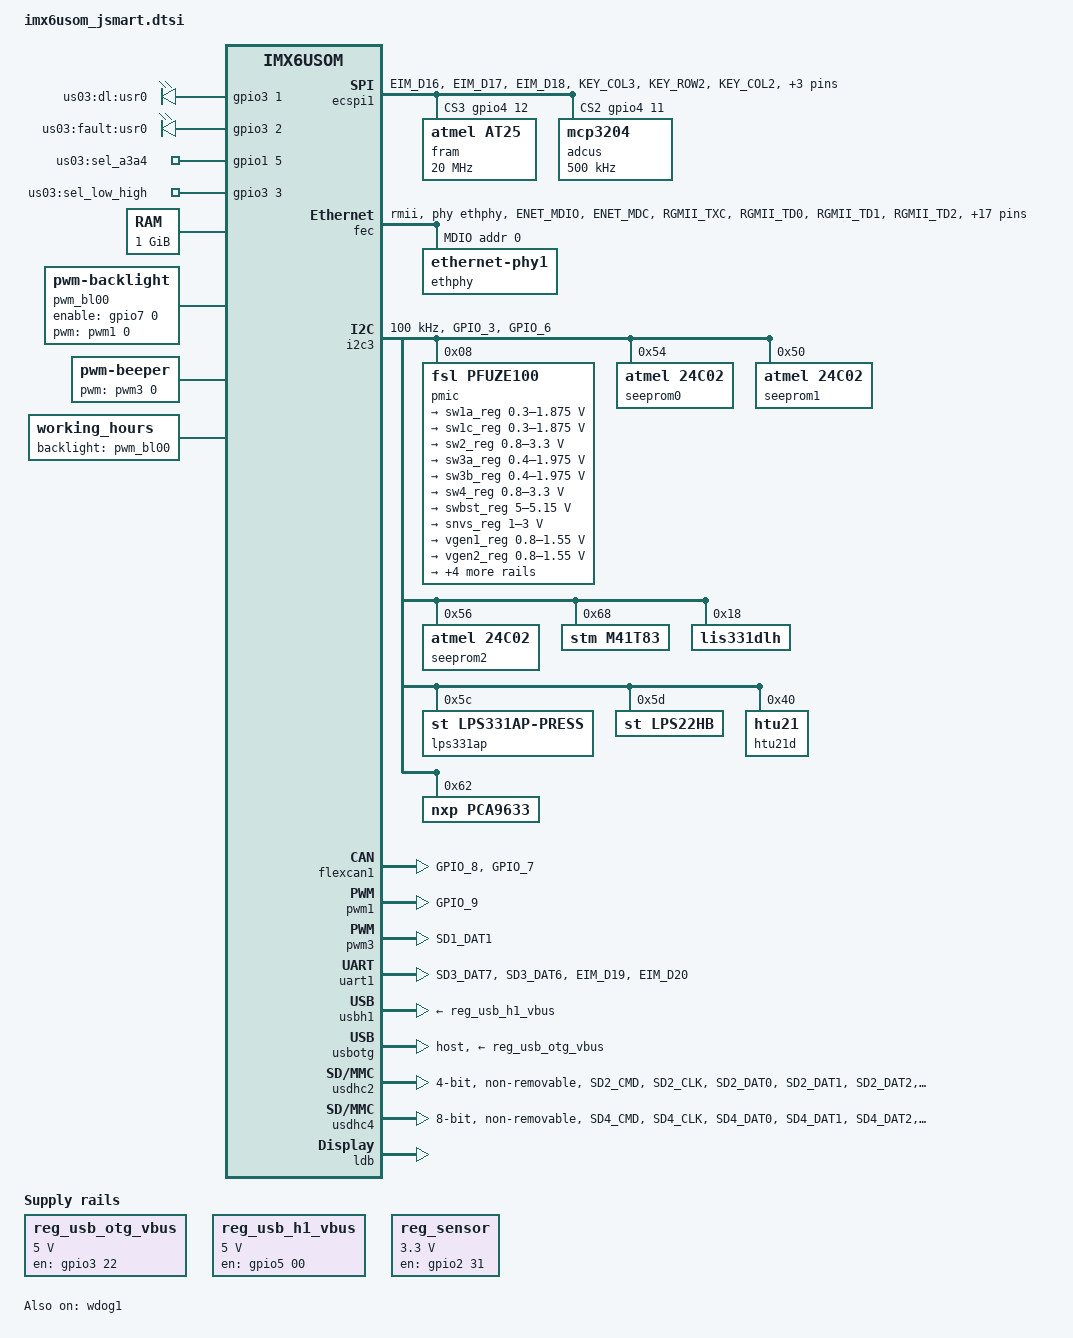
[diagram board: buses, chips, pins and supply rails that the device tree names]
/*
 * Copyright (C) 2016 Exor S.p.a
 * Written by: G. Pavoni Exor S.p.a. (starting from the imx6usom_be15a.dtsi file)
 * 
 * Copyright 2012 Freescale Semiconductor, Inc.
 * Copyright 2011 Linaro Ltd.
 *
 * The code contained herein is licensed under the GNU General Public
 * License. You may obtain a copy of the GNU General Public License
 * Version 2 or later at the following locations:
 *
 * http://www.opensource.org/licenses/gpl-license.html
 * http://www.gnu.org/copyleft/gpl.html
 */

#include <dt-bindings/input/input.h>

/ {
	aliases {
		mxcfb0 = &mxcfb1;
		mmc3 = &usdhc1;
		mmc0 = &usdhc2;
		mmc2 = &usdhc3;
		mmc1 = &usdhc4;
		i2c2 = &i2c1;
		i2c1 = &i2c2;
		i2c0 = &i2c3;
	};

	leds {
		pinctrl-names = "default";
		pinctrl-0 = <&user_leds_default>;

		compatible = "gpio-leds";

		led@1 {
			label = "us03:dl:usr0";
			gpios = <&gpio3 1 0>;
			default-state = "on";
		};

		led@2 {
			label = "us03:fault:usr0";
			gpios = <&gpio3 2 0>;
			default-state = "off";
		};

		led@3 {
			label = "us03:sel_a3a4";
			gpios = <&gpio1 5 0>;
			default-state = "on";
		};
		
		led@4 {
			label = "us03:sel_low_high";
			gpios = <&gpio3 3 0>;
			default-state = "off";
		};
	};

	memory {
		reg = <0x10000000 0x40000000>;
	};

	regulators {
		compatible = "simple-bus";
		#address-cells = <1>;
		#size-cells = <0>;

		reg_usb_otg_vbus: regulator@0 {
			compatible = "regulator-fixed";
			reg = <0>;
			regulator-name = "usb_otg_vbus";
			regulator-min-microvolt = <5000000>;
			regulator-max-microvolt = <5000000>;
			gpio = <&gpio3 22 0>;
			enable-active-high;
		};

		reg_usb_h1_vbus: regulator@1 {
			compatible = "regulator-fixed";
			reg = <1>;
			regulator-name = "usb_h1_vbus";
			regulator-min-microvolt = <5000000>;
			regulator-max-microvolt = <5000000>;
			gpio = <&gpio5 00 0>;
			enable-active-high;
		};
		reg_sensor: regulator@3 {
			compatible = "regulator-fixed";
			reg = <3>;
			regulator-name = "sensor-supply";
			regulator-min-microvolt = <3300000>;
			regulator-max-microvolt = <3300000>;
			gpio = <&gpio2 31 0>;
			startup-delay-us = <500>;
			enable-active-high;
		};
	};

	mxcfb1: fb@0 {
		compatible = "fsl,mxc_sdc_fb";
		disp_dev = "ldb";
		interface_pix_fmt = "RGB24";
		default_bpp = <32>;
		int_clk = <0>;
		late_init = <0>;
		status = "disabled";
	};
	
	ttllcd0: lcd@0 {
		compatible = "fsl,lcd";
		ipu_id = <0>;
		disp_id = <0>;
		default_ifmt = "RGB565";
		pinctrl-names = "default";
		pinctrl-0 = <&pinctrl_ipu1>;
		enable-gpios = <&gpio7 1 0>;
		status = "disabled";
	};

	pwm_bl00: backlight {
		compatible = "pwm-backlight";
		pwms = <&pwm1 0 50000>;
		brightness-levels = <0 4 8 12 16 20 24 28 32 36 40 44 48 52 56 60 64 68 72 76 80 84 88 92 96 100>;
		default-brightness-level = <0>;
		enable-gpios = <&gpio7 0 0>;
		status = "okay";
	};
	
	beeper {
	  compatible = "pwm-beeper";
	  pwms = <&pwm3 0 50000 0>;
	};

	working_hours {
	  compatible = "working_hours";
	  eeprom = <&seeprom0>;
	  backlight = <&pwm_bl00>;
	  rtcnvram = <&m41t83>;
	  status = "okay";
	};

        v4l2_out {
                compatible = "fsl,mxc_v4l2_output";
                status = "okay";
        };
};

&cpu0 {
	arm-supply = <&sw1a_reg>;
	soc-supply = <&sw1c_reg>;
};

&clks {
	assigned-clocks = <&clks IMX6QDL_CLK_LDB_DI0_SEL>,
	                  <&clks IMX6QDL_CLK_LDB_DI1_SEL>;
	assigned-clock-parents = <&clks IMX6QDL_CLK_PLL5_VIDEO_DIV>,
	                  <&clks IMX6QDL_CLK_PLL5_VIDEO_DIV>;
};

&ecspi1 {
	fsl,spi-num-chipselects = <5>;
	cs-gpios = <&gpio5 25 0>, /* CS0 */
	           <&gpio4 10 0>, /* CS1 */
	           <&gpio4 11 0>, /* CS2 */
	           <&gpio4 12 0>, /* CS3 */
	           <&gpio5 19 0>; /* CS4 */
	pinctrl-names = "default";
	pinctrl-0 = <&pinctrl_ecspi1>;
	status = "okay";

	fram: at25@3 {
		compatible = "atmel,at25", "st,m95256";
		reg = <3>;
		spi-max-frequency = <20000000>;
		pagesize = <64>;
		size = <65536>;
		address-width = <16>;
	};

	adcus: mcp3204@2 {
		compatible = "mcp3204";
		reg = <2>;
		spi-max-frequency = <500000>;
	};
};

&fec {
	pinctrl-names = "default";
	pinctrl-0 = <&pinctrl_enet>;
	phy-mode = "rmii";
	status = "okay";

	phy-handle = <&ethphy>;
	mdio {
		#address-cells = <1>;
		#size-cells = <0>;
		ethphy: ethernet-phy1 {
			reg = <0>;
		};
	};
};

&i2c3 {
	clock-frequency = <100000>;
	pinctrl-names = "default";
	pinctrl-0 = <&pinctrl_i2c3>;
	status = "okay";

	pmic: pfuze100@08 {
		compatible = "fsl,pfuze100";
		reg = <0x08>;

		regulators {
			sw1a_reg: sw1ab {
				regulator-min-microvolt = <300000>;
				regulator-max-microvolt = <1875000>;
				regulator-boot-on;
				regulator-always-on;
				regulator-ramp-delay = <6250>;
			};

			sw1c_reg: sw1c {
				regulator-min-microvolt = <300000>;
				regulator-max-microvolt = <1875000>;
				regulator-boot-on;
				regulator-always-on;
				regulator-ramp-delay = <6250>;
			};

			sw2_reg: sw2 {
				regulator-min-microvolt = <800000>;
				regulator-max-microvolt = <3300000>;
				regulator-boot-on;
				regulator-always-on;
			};

			sw3a_reg: sw3a {
				regulator-min-microvolt = <400000>;
				regulator-max-microvolt = <1975000>;
				regulator-boot-on;
				regulator-always-on;
			};

			sw3b_reg: sw3b {
				regulator-min-microvolt = <400000>;
				regulator-max-microvolt = <1975000>;
				regulator-boot-on;
				regulator-always-on;
			};

			sw4_reg: sw4 {
				regulator-min-microvolt = <800000>;
				regulator-max-microvolt = <3300000>;
			};

			swbst_reg: swbst {
				regulator-min-microvolt = <5000000>;
				regulator-max-microvolt = <5150000>;
			};

			snvs_reg: vsnvs {
				regulator-min-microvolt = <1000000>;
				regulator-max-microvolt = <3000000>;
				regulator-boot-on;
				regulator-always-on;
			};

			vref_reg: vrefddr {
				regulator-boot-on;
				regulator-always-on;
			};

			vgen1_reg: vgen1 {
				regulator-min-microvolt = <800000>;
				regulator-max-microvolt = <1550000>;
			};

			vgen2_reg: vgen2 {
				regulator-min-microvolt = <800000>;
				regulator-max-microvolt = <1550000>;
			};

			vgen3_reg: vgen3 {
				regulator-min-microvolt = <1800000>;
				regulator-max-microvolt = <3300000>;
			};

			vgen4_reg: vgen4 {
				regulator-min-microvolt = <1800000>;
				regulator-max-microvolt = <3300000>;
				regulator-always-on;
			};

			vgen5_reg: vgen5 {
				regulator-min-microvolt = <1800000>;
				regulator-max-microvolt = <3300000>;
				regulator-always-on;
			};

			vgen6_reg: vgen6 {
				regulator-min-microvolt = <1800000>;
				regulator-max-microvolt = <3300000>;
				regulator-always-on;
			};
		};
	};

	seeprom0:seeprom0@54 {
		compatible = "atmel,24c02";
		reg = <0x54>;
	};

	seeprom1:seeprom1@50 {
		compatible = "atmel,24c02";
		reg = <0x50>;
	};

	seeprom2:seeprom2@56 {
		compatible = "atmel,24c02";
		reg = <0x56>;
	};
	
	m41t83:m41t83@68 {
		compatible = "stm,m41t83";
		reg = <0x68>;
	};

	lis331dlh@18 {
	  /* Accelerometer */
	  compatible = "lis331dlh";
	  reg = <0x18>;
	};

	lps331ap@5c {
	  /* Pressure sensor LPS331AP */
	  compatible = "st,lps331ap-press";
	  reg = <0x5c>;
	};

	lps22hb@5d {
	    /* Pressure sensor LPS22HB */
	    compatible = "st,lps22hb";
	    reg = <0x5d>;
	};

	htu21d@40 {
	  /* Temperature/humidity */
	  compatible = "htu21";
	  reg = <0x40>;
	};
	
	pca9633: pca9633 {
	  compatible = "nxp,pca9633";
	  #address-cells = <1>;
	  #size-cells = <0>;
	  reg = <0x62>;

	    red@0 {
		    label = "red";
		    reg = <0>;
		    linux,default-trigger = "none";
	      
	    };
	    green@1 {
		    label = "green";
		    reg = <1>;
		    linux,default-trigger = "none";
	    };
	    blue@2 {
		    label = "blue";
		    reg = <2>;
		    linux,default-trigger = "none";
	    };
	    unused@3 {
		    label = "unused";
		    reg = <3>;
		    linux,default-trigger = "none";
	    };
	};
};

&iomuxc {
	pinctrl-names = "default";
	pinctrl-0 = <&pinctrl_hog>;

	imx6qdl-sabresd {
		pinctrl_hog: hoggrp {
			fsl,pins = <
				MX6QDL_PAD_NANDF_CLE__GPIO6_IO07 0x80000000
				MX6QDL_PAD_NANDF_ALE__GPIO6_IO08 0x80000000
				MX6QDL_PAD_EIM_D22__GPIO3_IO22  0x0001b0b0 
				MX6QDL_PAD_EIM_WAIT__GPIO5_IO00 0x0000b0b0  /* USB host reset */
				MX6QDL_PAD_SD3_DAT5__GPIO7_IO00 0x0000b0b0  /* backlight enable */
				MX6QDL_PAD_SD3_DAT4__GPIO7_IO01 0x0000b0b0  /* en_vdd */
				MX6QDL_PAD_EIM_DA9__GPIO3_IO09 0x0000b0b0   /* touch intr */
				MX6QDL_PAD_NANDF_D3__GPIO2_IO03 0x0000b0b0 /* tsc2004 touch reset */
				MX6QDL_PAD_NANDF_D7__GPIO2_IO07 0x0000b0b0 /* PCI-E reset */
				MX6QDL_PAD_SD3_DAT1__GPIO7_IO05 0x0000b0b0 /* plugin sel #0 */
				MX6QDL_PAD_SD3_DAT3__GPIO7_IO07 0x0000b0b0 /* plugin sel #1 */
				MX6QDL_PAD_SD3_CLK__GPIO7_IO03 0x0000b0b0 /* plugin sel #2 */
				MX6QDL_PAD_SD3_DAT0__GPIO7_IO04 0x0000b0b0 /* plugin sel #3 */
				MX6QDL_PAD_GPIO_1__USB_OTG_ID 0x0001b0b0 /*USB OTG port */
				MX6QDL_PAD_EIM_D21__USB_OTG_OC 0x0001b0b0 /*USB OTG port */
				MX6QDL_PAD_GPIO_5__GPIO1_IO05 0x0000b0b0 /* sel_a3a4 */
				MX6QDL_PAD_EIM_DA3__GPIO3_IO03 0x0000b0b0 /* sel_low_high */
				>;
		};

		user_leds_default: gpio_ledsgrp {
			fsl,pins = <
				MX6QDL_PAD_EIM_DA1__GPIO3_IO01  0x0000b0b0
				MX6QDL_PAD_EIM_DA2__GPIO3_IO02  0x0000b0b0
			>;
		};
		
		pinctrl_ecspi1: ecspi1grp {
			fsl,pins = <
				MX6QDL_PAD_EIM_D16__ECSPI1_SCLK   0x1b0b1 /* SCLK */
				MX6QDL_PAD_EIM_D17__ECSPI1_MISO   0x1b0b1 /* MISO */
				MX6QDL_PAD_EIM_D18__ECSPI1_MOSI   0x1b0b1 /* MOSI */
				MX6QDL_PAD_KEY_COL3__GPIO4_IO12   0x1b0b1 /* CS3  */
				MX6QDL_PAD_KEY_ROW2__GPIO4_IO11   0x1b0b1 /* CS2  */
				MX6QDL_PAD_KEY_COL2__GPIO4_IO10   0x1b0b1 /* CS1  */
				MX6QDL_PAD_CSI0_DAT7__GPIO5_IO25  0x1b0b1 /* CS0  */
				MX6QDL_PAD_CSI0_MCLK__GPIO5_IO19  0x1b0b1 /* CS4  */
				MX6QDL_PAD_CSI0_VSYNC__GPIO5_IO21 0x1b0b1 /* enable gpio for FPGA SPI Flash */
			>;
		};
		
		pinctrl_enet: enetgrp {
   			fsl,pins = <
   				MX6QDL_PAD_ENET_MDIO__ENET_MDIO		0x1b0b0
   				MX6QDL_PAD_ENET_MDC__ENET_MDC		0x1b0b0
 				MX6QDL_PAD_RGMII_TXC__RGMII_TXC		0x1b0b0
   				MX6QDL_PAD_RGMII_TD0__RGMII_TD0		0x1b0b0
   				MX6QDL_PAD_RGMII_TD1__RGMII_TD1		0x1b0b0
   				MX6QDL_PAD_RGMII_TD2__RGMII_TD2		0x1b0b0
   				MX6QDL_PAD_RGMII_TD3__RGMII_TD3		0x1b0b0
   				MX6QDL_PAD_RGMII_TX_CTL__RGMII_TX_CTL	0x1b0b0
 				MX6QDL_PAD_ENET_REF_CLK__ENET_TX_CLK	0x1b0b0
   				MX6QDL_PAD_RGMII_RXC__RGMII_RXC		0x1b0b0
 				MX6QDL_PAD_RGMII_RD0__RGMII_RD0		0x1b0b0
   				MX6QDL_PAD_RGMII_RD1__RGMII_RD1		0x1b0b0
   				MX6QDL_PAD_RGMII_RD2__RGMII_RD2		0x1b0b0
   				MX6QDL_PAD_RGMII_RD3__RGMII_RD3		0x1b0b0
 				MX6QDL_PAD_RGMII_RX_CTL__RGMII_RX_CTL	0x1b0b0
 				MX6QDL_PAD_GPIO_16__ENET_REF_CLK	0x4001b0a8
 				MX6QDL_PAD_ENET_TX_EN__ENET_TX_EN	0x1b0b1
 				MX6QDL_PAD_ENET_TXD0__ENET_TX_DATA0	0x1b0b1
 				MX6QDL_PAD_ENET_TXD1__ENET_TX_DATA1	0x1b0b1
 				MX6QDL_PAD_ENET_RX_ER__ENET_RX_ER	0x1b0b1
 				MX6QDL_PAD_ENET_CRS_DV__ENET_RX_EN	0x1b0b1
 				MX6QDL_PAD_ENET_RXD0__ENET_RX_DATA0	0x1b0b1
 				MX6QDL_PAD_ENET_RXD1__ENET_RX_DATA1	0x1b0b1
   				>;
		};
		
		pinctrl_i2c3: i2c3grp {
			fsl,pins = <
				MX6QDL_PAD_GPIO_3__I2C3_SCL		0x4001b8b1
				MX6QDL_PAD_GPIO_6__I2C3_SDA		0x4001b8b1
			>;
		};

		pinctrl_ipu1: ipu1grp {
			fsl,pins = <
				MX6QDL_PAD_DI0_DISP_CLK__IPU1_DI0_DISP_CLK 0x1b0b0
				MX6QDL_PAD_DI0_PIN15__IPU1_DI0_PIN15       0x1b0b0
				MX6QDL_PAD_DI0_PIN2__IPU1_DI0_PIN02        0x1b0b0
				MX6QDL_PAD_DI0_PIN3__IPU1_DI0_PIN03        0x1b0b0
				MX6QDL_PAD_DISP0_DAT0__IPU1_DISP0_DATA00   0x1b0b0
				MX6QDL_PAD_DISP0_DAT1__IPU1_DISP0_DATA01   0x1b0b0
				MX6QDL_PAD_DISP0_DAT2__IPU1_DISP0_DATA02   0x1b0b0
				MX6QDL_PAD_DISP0_DAT3__IPU1_DISP0_DATA03   0x1b0b0
				MX6QDL_PAD_DISP0_DAT4__IPU1_DISP0_DATA04   0x1b0b0
				MX6QDL_PAD_DISP0_DAT5__IPU1_DISP0_DATA05   0x1b0b0
				MX6QDL_PAD_DISP0_DAT6__IPU1_DISP0_DATA06   0x1b0b0
				MX6QDL_PAD_DISP0_DAT7__IPU1_DISP0_DATA07   0x1b0b0
				MX6QDL_PAD_DISP0_DAT8__IPU1_DISP0_DATA08   0x1b0b0
				MX6QDL_PAD_DISP0_DAT9__IPU1_DISP0_DATA09   0x1b0b0
				MX6QDL_PAD_DISP0_DAT10__IPU1_DISP0_DATA10  0x1b0b0
				MX6QDL_PAD_DISP0_DAT11__IPU1_DISP0_DATA11  0x1b0b0
				MX6QDL_PAD_DISP0_DAT12__IPU1_DISP0_DATA12  0x1b0b0
				MX6QDL_PAD_DISP0_DAT13__IPU1_DISP0_DATA13  0x1b0b0
				MX6QDL_PAD_DISP0_DAT14__IPU1_DISP0_DATA14  0x1b0b0
				MX6QDL_PAD_DISP0_DAT15__IPU1_DISP0_DATA15  0x1b0b0
				MX6QDL_PAD_DISP0_DAT16__IPU1_DISP0_DATA16  0x1b0b0
				MX6QDL_PAD_DISP0_DAT17__IPU1_DISP0_DATA17  0x1b0b0
				MX6QDL_PAD_DISP0_DAT18__IPU1_DISP0_DATA18  0x1b0b0
				MX6QDL_PAD_DISP0_DAT19__IPU1_DISP0_DATA19  0x1b0b0
				MX6QDL_PAD_DISP0_DAT20__IPU1_DISP0_DATA20  0x1b0b0
				MX6QDL_PAD_DISP0_DAT21__IPU1_DISP0_DATA21  0x1b0b0
				MX6QDL_PAD_DISP0_DAT22__IPU1_DISP0_DATA22  0x1b0b0
				MX6QDL_PAD_DISP0_DAT23__IPU1_DISP0_DATA23  0x1b0b0
			>;
		};

		pinctrl_pwm1: pwm1grp {
			fsl,pins = <
				MX6QDL_PAD_GPIO_9__PWM1_OUT		0x1b0b1
			>;
		};

		pinctrl_pwm3: pwm3grp {
			fsl,pins = <
				MX6QDL_PAD_SD1_DAT1__PWM3_OUT		0x1b0b1
			>;
		};
		
		pinctrl_uart1: uart1grp {
			fsl,pins = <
				MX6QDL_PAD_SD3_DAT7__UART1_TX_DATA	0x1b0b1
				MX6QDL_PAD_SD3_DAT6__UART1_RX_DATA	0x1b0b1
				MX6QDL_PAD_EIM_D19__UART1_CTS_B     0x1b0b1
				MX6QDL_PAD_EIM_D20__UART1_RTS_B     0x1b0b1
			>;
		};

		pinctrl_usdhc2: usdhc2grp {
			fsl,pins = <
				MX6QDL_PAD_SD2_CMD__SD2_CMD		0x17059
				MX6QDL_PAD_SD2_CLK__SD2_CLK		0x10059
				MX6QDL_PAD_SD2_DAT0__SD2_DATA0		0x17059
				MX6QDL_PAD_SD2_DAT1__SD2_DATA1		0x17059
				MX6QDL_PAD_SD2_DAT2__SD2_DATA2		0x17059
				MX6QDL_PAD_SD2_DAT3__SD2_DATA3		0x17059
				MX6QDL_PAD_GPIO_4__GPIO1_IO04		0x1b0b0
			>;
		};

		pinctrl_usdhc4: usdhc4grp {
			fsl,pins = <
				MX6QDL_PAD_SD4_CMD__SD4_CMD		0x17059
				MX6QDL_PAD_SD4_CLK__SD4_CLK		0x10059
				MX6QDL_PAD_SD4_DAT0__SD4_DATA0		0x17059
				MX6QDL_PAD_SD4_DAT1__SD4_DATA1		0x17059
				MX6QDL_PAD_SD4_DAT2__SD4_DATA2		0x17059
				MX6QDL_PAD_SD4_DAT3__SD4_DATA3		0x17059
				MX6QDL_PAD_SD4_DAT4__SD4_DATA4		0x17059
				MX6QDL_PAD_SD4_DAT5__SD4_DATA5		0x17059
				MX6QDL_PAD_SD4_DAT6__SD4_DATA6		0x17059
				MX6QDL_PAD_SD4_DAT7__SD4_DATA7		0x17059
			>;
		};

		pinctrl_flexcan1: flexcan1grp {
			fsl,pins = <
				MX6QDL_PAD_GPIO_8__FLEXCAN1_RX		0x1b020
				MX6QDL_PAD_GPIO_7__FLEXCAN1_TX		0x1b020
			>;
		};
	};
};

&gpc {
	/* use ldo-enable and wdt1 for board reset */
	fsl,ldo-bypass = <0>;
	fsl,wdog-reset = <1>;
};

&hdmi_core {
	ipu_id = <0>;
	disp_id = <0>;
	status = "disabled";
};

&flexcan1 {
	pinctrl-names = "default";
	pinctrl-0 = <&pinctrl_flexcan1>;
	status = "okay";
};

&pwm1 {
	pinctrl-names = "default";
	pinctrl-0 = <&pinctrl_pwm1>;
	status = "okay";
};

&pwm3 {
	pinctrl-names = "default";
	pinctrl-0 = <&pinctrl_pwm3>;
	status = "okay";
};

&uart1 {
	pinctrl-names = "default";
	pinctrl-0 = <&pinctrl_uart1>;
	status = "okay";
};

&usbh1 {
	vbus-supply = <&reg_usb_h1_vbus>;
	status = "okay";
};

&usbotg {
	vbus-supply = <&reg_usb_otg_vbus>;
	dr_mode = "host";
	status = "okay";
};


&usdhc2 {
	pinctrl-names = "default";
	pinctrl-0 = <&pinctrl_usdhc2>;
	bus-width = <4>;
	non-removable;
	no-1-8-v;
	keep-power-in-suspend;
	enable-sdio-wakeup;
	status = "okay";
};

&usdhc4 {
	pinctrl-names = "default";
	pinctrl-0 = <&pinctrl_usdhc4>;
	bus-width = <8>;
	non-removable;
	no-1-8-v;
	keep-power-in-suspend;
	status = "okay"; 
};

&wdog1 {
	status = "okay";
};

&wdog2 {
	status = "disabled";
};

&ldb {
	status = "okay";
	enable-gpios = <&gpio7 1 0>;

	lvds-channel@0 {
		fsl,data-mapping = "spwg";
		fsl,data-width = <24>;
		primary;
		status = "okay";
		crtc = "ipu1-di0";

		display-timings {
			native-mode = <&timing0>;
			timing0: hsd100pxn1 {
				clock-frequency = <65000000>;
				hactive = <1024>;
				vactive = <768>;
				hback-porch = <220>;
				hfront-porch = <40>;
				vback-porch = <21>;
				vfront-porch = <7>;
				hsync-len = <60>;
				vsync-len = <10>;
			};
		};
	};

	lvds-channel@1 {
		fsl,data-mapping = "spwg";
		fsl,data-width = <24>;
		status = "okay";
		crtc = "ipu1-di1";

		display-timings {
			native-mode = <&timing1>;
			timing1: hsd100pxn1 {
				clock-frequency = <65000000>;
				hactive = <1024>;
				vactive = <768>;
				hback-porch = <220>;
				hfront-porch = <40>;
				vback-porch = <21>;
				vfront-porch = <7>;
				hsync-len = <60>;
				vsync-len = <10>;
			};
		};
	};
};
